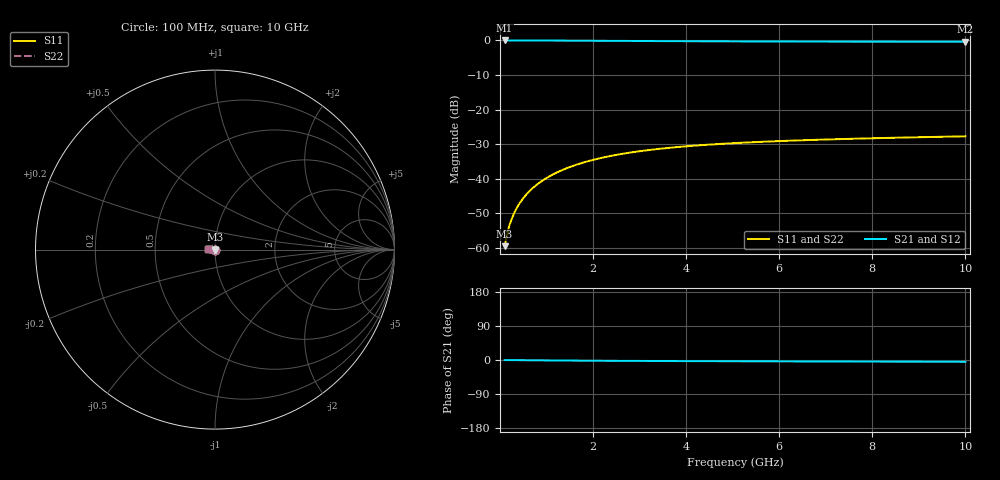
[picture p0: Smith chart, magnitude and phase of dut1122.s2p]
! Touchstone file exported from HFSS 2024.1.0
!  File:  C:/UserFiles/LocalFiles/RDL_TSV_Batchsim/temp_TSV1_1122_1780069236.aedt
!  Generated:  11:47:32 PM May 29, 2026
!  Design:  TSV1
!  Project:  temp_TSV1_1122_1780069236
!  Setup:  Setup1
!  Solution:  Sweep
! Variables:
!  dtsv = 9.36um
!  hbump = 3um
!  htsv = 73.31um
!  lrdl = 252.1521522um
!  p = 40
!  p1 = 46.99um
!  t = 500um
!  trdl = 3um
!  wrdl = 24.89489489um
# GHz S MA R 50.000000
! Terminal data exported
! Port[1] = TSV22_T1
! Port[2] = TSV22_T2
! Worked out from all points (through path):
!   100 points, 100 MHz to 10 GHz, reference 50 ohm
!   highest |S21| = 0.00 dB at 100 MHz (marker M1); lowest = -0.4 dB at 10 GHz (marker M2)
!   lowest |S11| = -59.5 dB at 100 MHz (marker M3), VSWR 1.00, Z = 50 - j0.105 ohm
!   |S11| at or under -10 dB: start of sweep to end of sweep
!   |S22| runs from -59.5 to -27.7 dB; largest |S21 - S12| = 5.3e-15
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0.1  0.001059 -83.2  0.9998 -0.1  0.9998 -0.1  0.001059 -83.2
! Gamma 0 0 0 0
! Port Impedance 50 0 50 0
0.2  0.002104 -89.0  0.9997 -0.2  0.9997 -0.2  0.002104 -89.0
0.3  0.003153 -92.1  0.9995 -0.3  0.9995 -0.3  0.003153 -92.1
0.4  0.0042 -94.5  0.9993 -0.4  0.9993 -0.4  0.0042 -94.5
0.5  0.005238 -96.7  0.999 -0.5  0.999 -0.5  0.005238 -96.7
0.6  0.006267 -98.8  0.9986 -0.6  0.9986 -0.6  0.006267 -98.8
0.7  0.007282 -100.7  0.9982 -0.8  0.9982 -0.8  0.007282 -100.7
0.8  0.008283 -102.6  0.9978 -0.9  0.9978 -0.9  0.008283 -102.6
0.9  0.009268 -104.4  0.9973 -1.0  0.9973 -1.0  0.009268 -104.4
1.1  0.01118 -107.9  0.9961 -1.1  0.9961 -1.1  0.01118 -107.9
1.4  0.01391 -112.9  0.9941 -1.4  0.9941 -1.4  0.01391 -112.9
1.6  0.01561 -116.0  0.9927 -1.6  0.9927 -1.6  0.01561 -116.0
1.8  0.01722 -119.1  0.9912 -1.7  0.9912 -1.7  0.01722 -119.1
2.1  0.01946 -123.4  0.9888 -1.9  0.9888 -1.9  0.01946 -123.4
2.5  0.02213 -128.8  0.9857 -2.2  0.9857 -2.2  0.02213 -128.8
2.9  0.02446 -133.7  0.9827 -2.4  0.9827 -2.4  0.02446 -133.7
3.4  0.02696 -139.3  0.9791 -2.7  0.9791 -2.7  0.02696 -139.3
4.2  0.03015 -147.1  0.9742 -3.0  0.9742 -3.0  0.03015 -147.1
5.1  0.0329 -154.5  0.9696 -3.3  0.9696 -3.3  0.0329 -154.5
6.7  0.03639 -165.2  0.9638 -3.8  0.9638 -3.8  0.03639 -165.2
8.4  0.03905 -174.3  0.9597 -4.3  0.9597 -4.3  0.03905 -174.3
10  0.04105 178.5  0.957 -4.7  0.957 -4.7  0.04106 178.5
